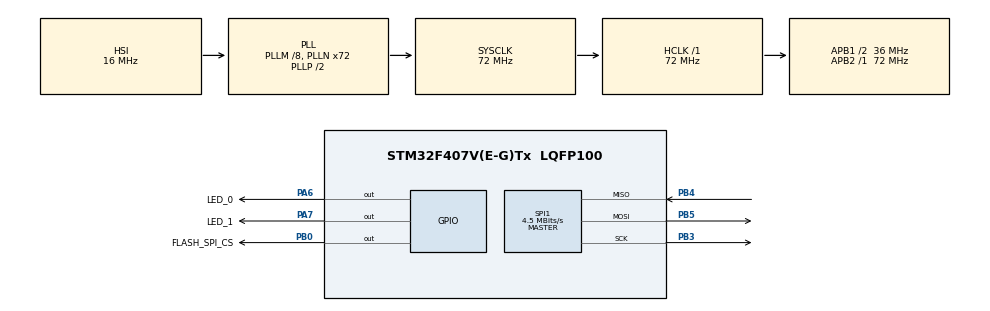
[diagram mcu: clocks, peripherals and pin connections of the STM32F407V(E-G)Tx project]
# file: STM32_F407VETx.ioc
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Mcu.Family=STM32F4
Mcu.Name=STM32F407V(E-G)Tx
Mcu.Package=LQFP100
NVIC.PriorityGroup=NVIC_PRIORITYGROUP_4
PA13.Mode=Serial_Wire
PA13.Signal=SYS_JTMS-SWDIO
PA14.Mode=Serial_Wire
PA14.Signal=SYS_JTCK-SWCLK
PA6.GPIO_Label=LED_0
PA6.Signal=GPIO_Output
PA7.GPIO_Label=LED_1
PA7.Signal=GPIO_Output
PB0.GPIO_Label=FLASH_SPI_CS
PB0.Signal=GPIO_Output
PB3.Mode=Full_Duplex_Master
PB3.Signal=SPI1_SCK
PB4.Mode=Full_Duplex_Master
PB4.Signal=SPI1_MISO
PB5.Mode=Full_Duplex_Master
PB5.Signal=SPI1_MOSI
PC14-OSC32_IN.Mode=LSE-External-Oscillator
PC14-OSC32_IN.Signal=RCC_OSC32_IN
PC15-OSC32_OUT.Mode=LSE-External-Oscillator
PC15-OSC32_OUT.Signal=RCC_OSC32_OUT
PH0-OSC_IN.Mode=HSE-External-Oscillator
PH0-OSC_IN.Signal=RCC_OSC_IN
PH1-OSC_OUT.Mode=HSE-External-Oscillator
PH1-OSC_OUT.Signal=RCC_OSC_OUT
ProjectManager.HeapSize=0x200
ProjectManager.StackSize=0x400
ProjectManager.TargetToolchain=MDK-ARM V5.27
RCC.48MHZClocksFreq_Value=48000000
RCC.AHBFreq_Value=72000000
RCC.APB1CLKDivider=RCC_HCLK_DIV2
RCC.APB1Freq_Value=36000000
RCC.APB1TimFreq_Value=72000000
RCC.APB2Freq_Value=72000000
RCC.APB2TimFreq_Value=72000000
RCC.CortexFreq_Value=72000000
RCC.HCLKFreq_Value=72000000
RCC.HSE_VALUE=25000000
RCC.HSI_VALUE=16000000
RCC.PLLM=8
RCC.PLLN=72
RCC.PLLQ=3
RCC.SYSCLKFreq_VALUE=72000000
RCC.SYSCLKSource=RCC_SYSCLKSOURCE_PLLCLK
RCC.VCOOutputFreq_Value=144000000
SPI1.BaudRatePrescaler=SPI_BAUDRATEPRESCALER_16
SPI1.CalculateBaudRate=4.5 MBits/s
SPI1.Direction=SPI_DIRECTION_2LINES
SPI1.Mode=SPI_MODE_MASTER
SPI1.VirtualType=VM_MASTER
board=custom

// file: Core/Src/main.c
/* USER CODE BEGIN Header */
/**
 ******************************************************************************
 * @file           : main.c
 * @brief          : Main program body
 ******************************************************************************
 * @attention
 *
 * <h2><center>&copy; Copyright (c) 2022 STMicroelectronics.
 * All rights reserved.</center></h2>
 *
 * This software component is licensed by ST under BSD 3-Clause license,
 * the "License"; You may not use this file except in compliance with the
 * License. You may obtain a copy of the License at:
 *                        opensource.org/licenses/BSD-3-Clause
 *
 ******************************************************************************
 */
/* USER CODE END Header */
#include "main.h"
#include "spi.h"
#include "gpio.h"

/* USER CODE BEGIN Includes */
#include "w25qxx.h"
/* USER CODE END Includes */

/* USER CODE BEGIN PTD */
typedef struct
{
  uint8_t u1_Age;
  uint16_t u2_Year;
  uint32_t u4_Count;
} t_Infor;
/* USER CODE END PTD */

/* USER CODE BEGIN PV */
static volatile t_Infor xnl_Infor = { 3U, 8U, 6U };
static volatile uint8_t u1l_buffer_write[1024u];
static volatile uint8_t u1l_buffer_read[1024u];
/* Flash buffer */
static uint8_t u1l_arr_read_buffer[10U];
/* USER CODE END PV */

void SystemClock_Config(void);
/* USER CODE BEGIN PFP */
static void f_vol_flash_ena_write_volatile_req(void);
static void f_vol_flash_send_command(void);
static void f_vol_flash_read_id(uint8_t *p2u1a_Status);
static void f_vol_flash_read_status_register(uint8_t *p2u1a_Status);
static void f_vol_flash_read_REpower_down( void );
static void f_vol_flash_read_power_down( void );
static void f_vol_flash_read_enaWrite( void );
/* USER CODE END PFP */

int main(void)
{

  /* MCU Configuration--------------------------------------------------------*/

  /* Reset of all peripherals, Initializes the Flash interface and the Systick. */
  HAL_Init();

  /* Configure the system clock */
  SystemClock_Config();

  /* Initialize all configured peripherals */
  MX_GPIO_Init();
  MX_SPI1_Init();
  /* USER CODE BEGIN 2 */
#ifdef USING_W25_LIB
  for( uint16_t u2_Cnt = 0U; u2_Cnt < 1024U; u2_Cnt += 1U )
  {
    u1l_buffer_write[u2_Cnt] = u2_Cnt;
  }
  W25qxx_Init();
  W25qxx_EraseSector(1u);
  W25qxx_WriteSector((uint8_t *)u1l_buffer_write, 1u, 0u, 1024u);
  W25qxx_ReadSector((uint8_t *)u1l_buffer_read, 1u, 0u, 1024u);
  for( uint16_t u2_Cnt = 0U; u2_Cnt < 1024U; u2_Cnt += 1U )
  {
    u1l_buffer_read[u2_Cnt] = 0U;
  }
  for( uint16_t u2_Cnt = 0U; u2_Cnt < 1024U; u2_Cnt += 1U )
  {
    u1l_buffer_write[u2_Cnt] = 0xFFU;
  }
  W25qxx_WriteSector((uint8_t *)u1l_buffer_write, 1u, 0u, 1024u);
  W25qxx_ReadSector((uint8_t *)u1l_buffer_read, 1u, 0u, 1024u);
  W25qxx_EraseSector(1u);
  W25qxx_WriteSector((uint8_t *)u1l_buffer_write, 1u, 0u, 1024u);
  for( uint16_t u2_Cnt = 0U; u2_Cnt < 1024U; u2_Cnt += 1U )
  {
    u1l_buffer_read[u2_Cnt] = 0U;
  }
  // f_vol_flash_send_command();

#elif defined TEST_ERASE_DUPLICATE

	uint8_t u1a_ReadData[3] ;
  uint8_t u1a_Data[3] = { 0x33, 0x44, 0x55 };
  uint8_t u1a_Data2[3] = { 0x34, 0x45, 0x56 };

  W25qxx_Init();
  W25qxx_EraseSector(1);
  W25qxx_EraseSector(2);

	W25qxx_ReadSector((uint8_t *)u1a_ReadData, 1u, 0u, 3u);
	u1a_ReadData[0] = 0xaa;
	u1a_ReadData[1] = 0xaa;
	u1a_ReadData[2] = 0xaa;
	W25qxx_ReadSector((uint8_t *)u1a_ReadData, 2u, 0u, 3u);

	W25qxx_WriteSector((uint8_t *)u1a_Data, 1u, 0u, 3u);
	W25qxx_WriteSector((uint8_t *)u1a_Data2, 2u, 0u, 3u);

	W25qxx_ReadSector((uint8_t *)u1a_ReadData, 1u, 0u, 3u);
	u1a_ReadData[0] = 0xaa;
	u1a_ReadData[1] = 0xaa;
	u1a_ReadData[2] = 0xaa;
	W25qxx_ReadSector((uint8_t *)u1a_ReadData, 2u, 0u, 3u);

  W25qxx_EraseSector(1);
  W25qxx_EraseSector(1);
  W25qxx_EraseSector(2);

	W25qxx_ReadSector((uint8_t *)u1a_ReadData, 1u, 0u, 3u);
	u1a_ReadData[0] = 0xaa;
	u1a_ReadData[1] = 0xaa;
	u1a_ReadData[2] = 0xaa;
	W25qxx_ReadSector((uint8_t *)u1a_ReadData, 2u, 0u, 3u);

#endif /* USING_W25_LIB */
W25qxx_Init();
  volatile uint8_t u1a_Status_id, u1a_Status_ic;
  volatile t_Infor *p2xna_Infor;
  p2xna_Infor = ( t_Infor* )&xnl_Infor;
  u1a_Status_id = p2xna_Infor->u1_Age;

//  f_vol_flash_read_enaWrite();
//  f_vol_flash_read_status_register((uint8_t *)&u1a_Status_ic);
//  f_vol_flash_read_power_down();
//  f_vol_flash_read_status_register((uint8_t *)&u1a_Status_ic);
    f_vol_flash_read_id((uint8_t *)&u1a_Status_id);
//    if ( u1a_Status_id == 0u )
//    {
//      while(1){}
//    }

//  f_vol_flash_read_REpower_down();
//  f_vol_flash_read_status_register((uint8_t *)&u1a_Status_ic);
//    f_vol_flash_read_id((uint8_t *)&u1a_Status_id);
//    if ( u1a_Status_id == 1u )
//    {
//      while(1){}
//    }
//  f_vol_flash_read_status_register((uint8_t *)&u1a_Status_ic);

//  W25qxx_EraseSector(1u);
////  W25qxx_ReadSector((uint8_t *)u1l_buffer_read, 1u, 0u, 1024u);

//  f_vol_flash_read_status_register((uint8_t *)&u1a_Status_ic);
//  if ( 0U == ( u1a_Status_ic & 1U ) )
//  {
//    /* Flash Idle */
//    while( 1U ){}
//  }
//  else
//  {
//    /* Flash busy */
//    u1a_Status_ic = u1a_Status_id = 10u;
//    f_vol_flash_read_status_register((uint8_t *)&u1a_Status_ic);
//    f_vol_flash_read_id((uint8_t *)&u1a_Status_id);
//    f_vol_flash_read_status_register((uint8_t *)&u1a_Status_ic);
//    for( uint32_t i = 0U; i < 100000U; i++ ){}
//    f_vol_flash_read_status_register((uint8_t *)&u1a_Status_ic);
//    if (1U == u1a_Status_id)
//    {
//      /* Read Id failed */
//      while (1u)
//      {
//      }
//    }
//    else
//    {
//      /* read Id ok */
//      while (1)
//      {
//      }
//    }
//  }

//  /* USER CODE END 2 */

  /* Infinite loop */
  while (1)
  {

    /* USER CODE BEGIN 3 */
    HAL_GPIO_TogglePin(GPIOA, LED_0_Pin);
    HAL_GPIO_TogglePin(GPIOA, LED_1_Pin);
    HAL_Delay(500u);
  }
  /* USER CODE END 3 */
}

void SystemClock_Config(void)
{
  RCC_OscInitTypeDef RCC_OscInitStruct = {0};
  RCC_ClkInitTypeDef RCC_ClkInitStruct = {0};

  /** Configure the main internal regulator output voltage
   */
  __HAL_RCC_PWR_CLK_ENABLE();
  __HAL_PWR_VOLTAGESCALING_CONFIG(PWR_REGULATOR_VOLTAGE_SCALE1);
  /** Initializes the RCC Oscillators according to the specified parameters
   * in the RCC_OscInitTypeDef structure.
   */
  RCC_OscInitStruct.OscillatorType = RCC_OSCILLATORTYPE_HSI;
  RCC_OscInitStruct.HSIState = RCC_HSI_ON;
  RCC_OscInitStruct.HSICalibrationValue = RCC_HSICALIBRATION_DEFAULT;
  RCC_OscInitStruct.PLL.PLLState = RCC_PLL_ON;
  RCC_OscInitStruct.PLL.PLLSource = RCC_PLLSOURCE_HSI;
  RCC_OscInitStruct.PLL.PLLM = 8;
  RCC_OscInitStruct.PLL.PLLN = 72;
  RCC_OscInitStruct.PLL.PLLP = RCC_PLLP_DIV2;
  RCC_OscInitStruct.PLL.PLLQ = 3;
  if (HAL_RCC_OscConfig(&RCC_OscInitStruct) != HAL_OK)
  {
    Error_Handler();
  }
  /** Initializes the CPU, AHB and APB buses clocks
   */
  RCC_ClkInitStruct.ClockType = RCC_CLOCKTYPE_HCLK | RCC_CLOCKTYPE_SYSCLK | RCC_CLOCKTYPE_PCLK1 | RCC_CLOCKTYPE_PCLK2;
  RCC_ClkInitStruct.SYSCLKSource = RCC_SYSCLKSOURCE_PLLCLK;
  RCC_ClkInitStruct.AHBCLKDivider = RCC_SYSCLK_DIV1;
  RCC_ClkInitStruct.APB1CLKDivider = RCC_HCLK_DIV2;
  RCC_ClkInitStruct.APB2CLKDivider = RCC_HCLK_DIV1;

  if (HAL_RCC_ClockConfig(&RCC_ClkInitStruct, FLASH_LATENCY_2) != HAL_OK)
  {
    Error_Handler();
  }
}

/* USER CODE BEGIN 4 */
static void f_vol_flash_ena_write_volatile_req(void)
{
  uint8_t u1a_arr_cmd[1u] = {0x06};
  HAL_GPIO_WritePin(FLASH_SPI_CS_GPIO_Port, FLASH_SPI_CS_Pin, GPIO_PIN_RESET);
  HAL_SPI_Transmit(&hspi1, u1a_arr_cmd, 1u, 10u);
  HAL_GPIO_WritePin(FLASH_SPI_CS_GPIO_Port, FLASH_SPI_CS_Pin, GPIO_PIN_SET);
}
static void f_vol_flash_send_command(void)
{
  /* Comment buffer */
  static uint8_t u1l_arr_write_command_0[8U] = {0x42, 0x00, 0x10, 0x00, 0x01, 0x06, 0x06, 0x09};
  static uint8_t u1l_arr_write_command_1[8U] = {0x48, 0x00, 0x10, 0x00, 0xFF, 0xFF, 0xFF, 0XFF};
  static uint8_t u1l_arr_write_command_2[1U] = {0x98};

  // /* Unlock global block */
  // f_vol_flash_ena_write_volatile_req();
  // HAL_GPIO_WritePin(FLASH_SPI_CS_GPIO_Port, FLASH_SPI_CS_Pin, GPIO_PIN_RESET);
  // HAL_SPI_Transmit(&hspi1, u1l_arr_write_command_2, 1u, 10u);
  // HAL_GPIO_WritePin(FLASH_SPI_CS_GPIO_Port, FLASH_SPI_CS_Pin, GPIO_PIN_SET);
  // /* Write status register 2 */
  // W25qxx_EraseSector(1u);
  // f_vol_flash_ena_write_volatile_req();
  // HAL_GPIO_WritePin(FLASH_SPI_CS_GPIO_Port, FLASH_SPI_CS_Pin, GPIO_PIN_RESET);
  // for(uint8_t u1a_loop_count = 0u; u1a_loop_count < 8u; u1a_loop_count++)
  // {
  //   HAL_SPI_Transmit(&hspi1, u1l_arr_write_command_0 + u1a_loop_count, 1u, 10u);
  // }
  // HAL_GPIO_WritePin(FLASH_SPI_CS_GPIO_Port, FLASH_SPI_CS_Pin, GPIO_PIN_SET);

  /* Read status register 2 */
  HAL_GPIO_WritePin(FLASH_SPI_CS_GPIO_Port, FLASH_SPI_CS_Pin, GPIO_PIN_RESET);
  for (uint8_t u1a_loop_count = 0u; u1a_loop_count < 9u; u1a_loop_count++)
  {
    if (u1a_loop_count < 5)
    {
      HAL_SPI_Transmit(&hspi1, u1l_arr_write_command_1 + u1a_loop_count, 1u, 10u);
    }
    else
    {
      HAL_SPI_Receive(&hspi1, u1l_arr_read_buffer + u1a_loop_count - 1u, 1u, 10u);
    }
  }
  HAL_GPIO_WritePin(FLASH_SPI_CS_GPIO_Port, FLASH_SPI_CS_Pin, GPIO_PIN_SET);
  W25qxx_ReadSector((uint8_t *)u1l_buffer_read, 1u, 0u, 8u);
}
static void f_vol_flash_read_id(uint8_t *p2u1a_Status)
{
  uint8_t u1a_cmd[] = {0x9F};
  uint8_t u1a_recv_buff[3u];
  uint8_t u1a_FlashId[3U] = {0xEFU, 0x40U, 0x15U};
  uint8_t u1a_Status_ic;

  *p2u1a_Status = 0U;
  u1a_recv_buff[0U] = 0U;
  u1a_recv_buff[1U] = 1U;
  u1a_recv_buff[2U] = 2U;

    f_vol_flash_read_status_register((uint8_t *)&u1a_Status_ic);

//  if ( 1U == (u1a_Status_ic&1U) )
//  {
    /* Enable CS pin */
    HAL_GPIO_WritePin(FLASH_SPI_CS_GPIO_Port, FLASH_SPI_CS_Pin, GPIO_PIN_RESET);

    /* Transmit data */
    HAL_SPI_Transmit(&hspi1, u1a_cmd, sizeof(u1a_cmd), 10u);
    HAL_SPI_Receive(&hspi1, u1a_recv_buff, sizeof(u1a_recv_buff), 10u);
    /* Disable CS pin */
    HAL_GPIO_WritePin(FLASH_SPI_CS_GPIO_Port, FLASH_SPI_CS_Pin, GPIO_PIN_SET);

    for (uint8_t u1a_Cnt = 0U; u1a_Cnt < 3U; u1a_Cnt += 1u)
    {
      if (u1a_FlashId[u1a_Cnt] != u1a_recv_buff[u1a_Cnt])
      {
        *p2u1a_Status = 1U;
        //break;
      }
    }
//  }

  return;
}

static void f_vol_flash_read_status_register(uint8_t *p2u1a_Status)
{
  uint8_t u1a_cmd[] = {0x05U};
  uint8_t u1a_recv_buff[1U];

  *p2u1a_Status = 0U;

  /* Enable CS pin */
  HAL_GPIO_WritePin(FLASH_SPI_CS_GPIO_Port, FLASH_SPI_CS_Pin, GPIO_PIN_RESET);

  /* Transmit data */
  HAL_SPI_Transmit(&hspi1, u1a_cmd, sizeof(u1a_cmd), 10u);
  HAL_SPI_Receive(&hspi1, u1a_recv_buff, sizeof(u1a_recv_buff), 10u);
  /* Disable CS pin */
  HAL_GPIO_WritePin(FLASH_SPI_CS_GPIO_Port, FLASH_SPI_CS_Pin, GPIO_PIN_SET);

  *p2u1a_Status = u1a_recv_buff[0U];

  return;
}

static void f_vol_flash_read_power_down( void )
{
  uint8_t u1a_cmd[] = {0xB9U};

  /* Enable CS pin */
  HAL_GPIO_WritePin(FLASH_SPI_CS_GPIO_Port, FLASH_SPI_CS_Pin, GPIO_PIN_RESET);

  /* Transmit data */
  HAL_SPI_Transmit(&hspi1, u1a_cmd, sizeof(u1a_cmd), 10u);
  /* Disable CS pin */
  HAL_GPIO_WritePin(FLASH_SPI_CS_GPIO_Port, FLASH_SPI_CS_Pin, GPIO_PIN_SET);

  return;
}

static void f_vol_flash_read_REpower_down( void )
{
  uint8_t u1a_cmd[] = {0xABU};

  /* Enable CS pin */
  HAL_GPIO_WritePin(FLASH_SPI_CS_GPIO_Port, FLASH_SPI_CS_Pin, GPIO_PIN_RESET);

  /* Transmit data */
  HAL_SPI_Transmit(&hspi1, u1a_cmd, sizeof(u1a_cmd), 10u);
  /* Disable CS pin */
  HAL_GPIO_WritePin(FLASH_SPI_CS_GPIO_Port, FLASH_SPI_CS_Pin, GPIO_PIN_SET);

  return;
}

static void f_vol_flash_read_enaWrite( void )
{
  uint8_t u1a_cmd[] = {0x06U};

  /* Enable CS pin */
  HAL_GPIO_WritePin(FLASH_SPI_CS_GPIO_Port, FLASH_SPI_CS_Pin, GPIO_PIN_RESET);

  /* Transmit data */
  HAL_SPI_Transmit(&hspi1, u1a_cmd, sizeof(u1a_cmd), 10u);
  /* Disable CS pin */
  HAL_GPIO_WritePin(FLASH_SPI_CS_GPIO_Port, FLASH_SPI_CS_Pin, GPIO_PIN_SET);

  return;
}

/* USER CODE END 4 */

void Error_Handler(void)
{
  __disable_irq();
  while (1)
  {
  }
}

/************************ (C) COPYRIGHT STMicroelectronics *****END OF FILE****/
